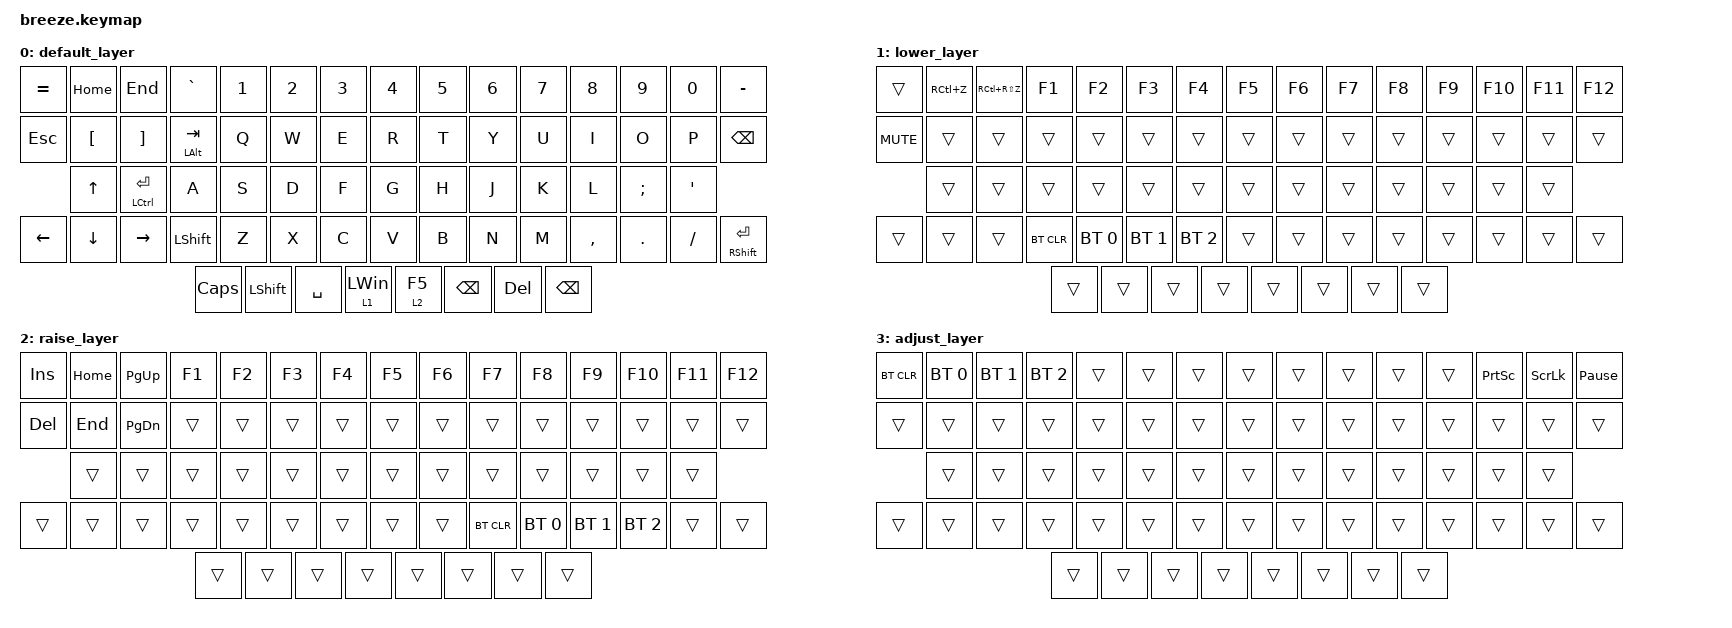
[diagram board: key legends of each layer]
/*
 * Copyright (c) 2022 The ZMK Contributors
 *
 * SPDX-License-Identifier: MIT
 */

#include <behaviors.dtsi>
#include <dt-bindings/zmk/keys.h>
#include <dt-bindings/zmk/bt.h>
#include <dt-bindings/zmk/ext_power.h>

/ {
	keymap {
		compatible = "zmk,keymap";

		default_layer {

// Ref: https://zmkfirmware.dev/docs/codes/

// ----------------------------------------------------------------------------------------------------------------------------------
// |  =  | HOME | END  | |   `   |  1  |  2  |  3    |  4   |  5   |                    |  6   |  7    |  8    |  9   |   0   | -/_  |
// | ESC | [    |  ]   | |  ALT/TAB  |  Q  |  W  |  E    |  R   |  T   |                |  Y   |  U    |  I    |  O   |   P   |  BSPC|
// |     |  UP  |      | |  CTRL |  A  |  S  |  D    |  F   |  G   |                    |  H   |  J    |  K    |  L   |   ;   |  '   |
// |  L  |  DN  |  R   | |  SHFT |  Z  |  X  |  C    |  V   |  B   |                    |  N   |  M    |  ,    |  .   |   /   |  SHIFT/ENTER |
//                       | CAPS  | LSHIFT | SPACE | LOWER/LWIN |                            | RAISE/RET  | BSPC  | DEL   | BSPC |
			bindings = <
&kp EQUAL &kp HOME &kp END        &kp GRAVE &kp N1 &kp N2 &kp N3 &kp N4 &kp N5        &kp N6 &kp N7 &kp N8 &kp N9 &kp N0 &kp MINUS
&kp ESC &kp LBKT &kp RBKT        &mt LALT TAB &kp Q &kp W &kp E &kp R &kp T        &kp Y &kp U &kp I &kp O &kp P &kp BSPC
        &kp UP                   &mt LCTRL RET &kp A &kp S &kp D &kp F &kp G        &kp H &kp J &kp K &kp L &kp SEMI &kp APOS
&kp LEFT  &kp DOWN  &kp RIGHT        &kp LSHFT &kp Z &kp X &kp C &kp V &kp B        &kp N &kp M &kp COMMA &kp DOT &kp FSLH &mt RSHFT RET
                                    &kp CAPS &kp LSHIFT &kp SPACE &lt 1 LWIN      &lt 2 F5 &kp BSPC &kp DEL &kp BSPC
			>;
		};

		lower_layer {
// ---------------------------------------------------------------------------------------------------------------------------------- 
// |       | UNDO | REDO | |   F1  |  F2  |  F3 |  F4  |  F5   |  F6  |                   |  F7  |  F8  |  F9  |  F10 |  F11  |  F12  | 
// |  Mute |      |      | |CMD-TAB|      |     |      |       |  [   |                   |  ]   |      |      |      |       |       | 
// |       | Vol+ |      | |       | CMD-A|     |      |       |      |                   |  L   |  DN  |  UP  |  R   |       |       | 
// | Prev  | Vol- | Next | |  CAPS | CMD-Z| CUT | COPY | PASTE |  {   |                   |  }   |      |      |      |       |       | 
//                      |      |       |      |        |  |  RET  |      |  INS |ADJUST|
			bindings = <
&trans &kp RC(Z) &kp RC(RS(Z))        &kp F1 &kp F2 &kp F3 &kp F4 &kp F5 &kp F6                             &kp F7 &kp F8 &kp F9 &kp F10 &kp F11 &kp F12
&kp C_MUTE &trans &trans              &trans &trans &trans &trans &trans &trans                              &trans &trans &trans &trans &trans &trans
       &trans                         &trans &trans &trans &trans &trans &trans                              &trans &trans &trans &trans &trans &trans
&trans &trans &trans          &bt BT_CLR &bt BT_SEL 0 &bt BT_SEL 1 &bt BT_SEL 2 &trans &trans                &trans &trans &trans &trans &trans &trans
                                                &trans &trans &trans &trans                                  &trans &trans &trans &trans        
			>;
		};

		raise_layer {
// ---------------------------------------------------------------------------------------------------------------------------------- 
// | ESC |      |      |      |      |        |                   |      |      |      |      |       |       | |     |      |      | 
// |     |      |      |      |      |        |                   |      |      |      |      |       |       | |     |      |      | 
// |     |CTRL-A|      |      |      |        |                   | HOME | PGDN | PGUP | END  |       |       | |     |      |      | 
// |     |CTRL-Z|CTRL-X|CTRL-C|CTRL-V|        |                   |      |      |      |      |       |       | |     |      |      | 
//                     |      |      |        |  BKSP  |  |       |      |      |      |
			bindings = <
&kp INS &kp HOME &kp PG_UP        &kp F1 &kp F2 &kp F3 &kp F4 &kp F5 &kp F6        &kp F7 &kp F8 &kp F9 &kp F10 &kp F11 &kp F12
&kp DEL &kp END &kp PG_DN        &trans &trans &trans &trans &trans &trans        &trans &trans &trans &trans &trans &trans
        &trans                   &trans &trans &trans &trans &trans &trans        &trans &trans &trans &trans &trans &trans
&trans &trans &trans             &trans &trans &trans &trans &trans &trans        &bt BT_CLR &bt BT_SEL 0 &bt BT_SEL 1 &bt BT_SEL 2 &trans &trans
                                               &trans &trans &trans &trans        &trans &trans &trans &trans
			>;
		};
		
		adjust_layer {
// ---------------------------------------------------------------------------------------------------------------------------------- 
// | BT1 | BT2 | BT3 | BT4  |      | BT_CLR |                   |      |       |       |      |       |       | |     |      |      | 
// |     |     |     |      |      |        |                   |      |       |       |      |       |       | |     |      |      | 
// |     |     |     |      |      |        |                   |      |       |       |      |       |       | |     |      |      | 
// |     |     |     |      |      |        |                   |      |       |       |      |       |       | |     |      |      | 
//                   |      |      |        |        |  |       |      |       |       |
			bindings = <
&bt BT_CLR &bt BT_SEL 0 &bt BT_SEL 1 &bt BT_SEL 2 &trans &trans        &trans &trans &trans &trans &trans &trans        &kp PSCRN &kp SLCK &kp PAUSE_BREAK
&trans &trans &trans &trans &trans &trans        &trans &trans &trans &trans &trans &trans        &trans &trans &trans
&trans &trans &trans &trans &trans &trans        &trans &trans &trans &trans &trans &trans        &trans
&trans &trans &trans &trans &trans &trans        &trans &trans &trans &trans &trans &trans        &trans &trans &trans
        &trans &trans &trans &trans        &trans &trans &trans &trans
			>;
		};
	};
};
